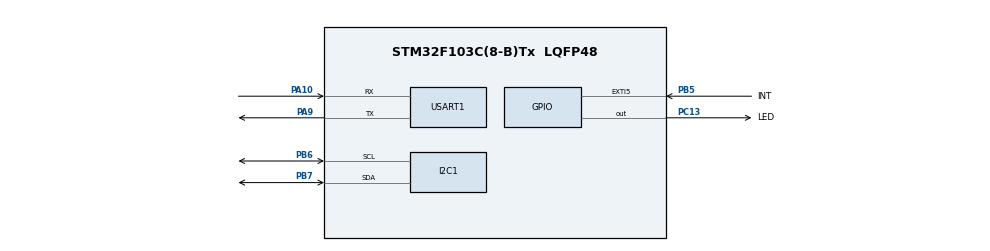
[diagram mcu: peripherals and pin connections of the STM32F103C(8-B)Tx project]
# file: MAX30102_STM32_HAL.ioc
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I2C1.I2C_Mode=I2C_Fast
Mcu.Family=STM32F1
Mcu.Name=STM32F103C(8-B)Tx
Mcu.Package=LQFP48
NVIC.EXTI9_5_IRQn=true\:0\:0\:false\:true\:true\:1\:true\:true
NVIC.PriorityGroup=NVIC_PRIORITYGROUP_4
PA10.Mode=Asynchronous
PA10.Signal=USART1_RX
PA9.Mode=Asynchronous
PA9.Signal=USART1_TX
PB5.GPIO_Label=INT
PB5.GPIO_ModeDefaultEXTI=GPIO_MODE_IT_FALLING
PB5.Signal=GPXTI5
PB6.Mode=I2C
PB6.Signal=I2C1_SCL
PB7.Mode=I2C
PB7.Signal=I2C1_SDA
PC13-TAMPER-RTC.GPIO_Label=LED
PC13-TAMPER-RTC.Signal=GPIO_Output
ProjectManager.HeapSize=0x200
ProjectManager.StackSize=0x400
ProjectManager.TargetToolchain=TrueSTUDIO
RCC.APB1Freq_Value=8000000
RCC.APB2Freq_Value=8000000
USART1.VirtualMode=VM_ASYNC
VP_SYS_VS_ND.Mode=No_Debug
board=custom

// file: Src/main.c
/* USER CODE BEGIN Header */
/**
 ******************************************************************************
 * @file           : main.c
 * @brief          : Main program body
 ******************************************************************************
 * @attention
 *
 * <h2><center>&copy; Copyright (c) 2019 STMicroelectronics.
 * All rights reserved.</center></h2>
 *
 * This software component is licensed by ST under BSD 3-Clause license,
 * the "License"; You may not use this file except in compliance with the
 * License. You may obtain a copy of the License at:
 *                        opensource.org/licenses/BSD-3-Clause
 *
 ******************************************************************************
 */
/* USER CODE END Header */

#include "main.h"
#include "i2c.h"
#include "usart.h"
#include "gpio.h"

/* USER CODE BEGIN Includes */
#include "stdio.h"
#include "string.h"
#include "MAX30102/MAX30102.h"
/* USER CODE END Includes */

/* USER CODE BEGIN PV */
char UartBuffer[32];
/* USER CODE END PV */

void SystemClock_Config(void);
static void MX_NVIC_Init(void);

/* USER CODE BEGIN 0 */
void UART2_SendString(char* s)
{
  HAL_UART_Transmit(&huart1, (uint8_t*)s, strlen(s), 1000);
}
/* USER CODE END 0 */

int main(void)
{
  /* USER CODE BEGIN 1 */
  static int32_t hr_old = 1, spo2_old = 1;
  /* USER CODE END 1 */

  /* MCU Configuration--------------------------------------------------------*/

  /* Reset of all peripherals, Initializes the Flash interface and the Systick. */
  HAL_Init();

  /* Configure the system clock */
  SystemClock_Config();

  /* Initialize all configured peripherals */
  MX_GPIO_Init();
  MX_I2C1_Init();
  MX_USART1_UART_Init();

  /* Initialize interrupts */
  MX_NVIC_Init();
  /* USER CODE BEGIN 2 */
  UART2_SendString("START\n\r");

  Max30102_Init(&hi2c1);
  /* USER CODE END 2 */

  /* Infinite loop */
  /* USER CODE BEGIN WHILE */
  while (1)
  {
    Max30102_Task();
    if ((Max30102_IsFingerOnSensor() == 1) && ((hr_old != Max30102_GetHeartRate())
        || (spo2_old != Max30102_GetSpO2Value())))
    {
      hr_old = Max30102_GetHeartRate();
      spo2_old = Max30102_GetSpO2Value();
      sprintf(UartBuffer, "HR: %3ld; SpO2: %3ld\n", hr_old, spo2_old);
      UART2_SendString(UartBuffer);
    }

    /* USER CODE END WHILE */

  }
}

void SystemClock_Config(void)
{
  RCC_OscInitTypeDef RCC_OscInitStruct = { 0 };
  RCC_ClkInitTypeDef RCC_ClkInitStruct = { 0 };

  /** Initializes the CPU, AHB and APB busses clocks
   */
  RCC_OscInitStruct.OscillatorType = RCC_OSCILLATORTYPE_HSI;
  RCC_OscInitStruct.HSIState = RCC_HSI_ON;
  RCC_OscInitStruct.HSICalibrationValue = RCC_HSICALIBRATION_DEFAULT;
  RCC_OscInitStruct.PLL.PLLState = RCC_PLL_NONE;
  if (HAL_RCC_OscConfig(&RCC_OscInitStruct) != HAL_OK)
  {
    Error_Handler();
  }
  /** Initializes the CPU, AHB and APB busses clocks
   */
  RCC_ClkInitStruct.ClockType = RCC_CLOCKTYPE_HCLK | RCC_CLOCKTYPE_SYSCLK
                                | RCC_CLOCKTYPE_PCLK1 | RCC_CLOCKTYPE_PCLK2;
  RCC_ClkInitStruct.SYSCLKSource = RCC_SYSCLKSOURCE_HSI;
  RCC_ClkInitStruct.AHBCLKDivider = RCC_SYSCLK_DIV1;
  RCC_ClkInitStruct.APB1CLKDivider = RCC_HCLK_DIV1;
  RCC_ClkInitStruct.APB2CLKDivider = RCC_HCLK_DIV1;

  if (HAL_RCC_ClockConfig(&RCC_ClkInitStruct, FLASH_LATENCY_0) != HAL_OK)
  {
    Error_Handler();
  }
}

/**
 * @brief NVIC Configuration.
 * @retval None
 */
static void MX_NVIC_Init(void)
{
  /* EXTI9_5_IRQn interrupt configuration */
  HAL_NVIC_SetPriority(EXTI9_5_IRQn, 1, 0);
  HAL_NVIC_EnableIRQ(EXTI9_5_IRQn);
}

/* USER CODE BEGIN 4 */
void HAL_GPIO_EXTI_Callback(uint16_t GPIO_Pin)
{
  if (GPIO_Pin == INT_Pin)
  {
    Max30102_InterruptCallback();
  }
}
/* USER CODE END 4 */

void Error_Handler(void)
{
}

/************************ (C) COPYRIGHT STMicroelectronics *****END OF FILE****/
